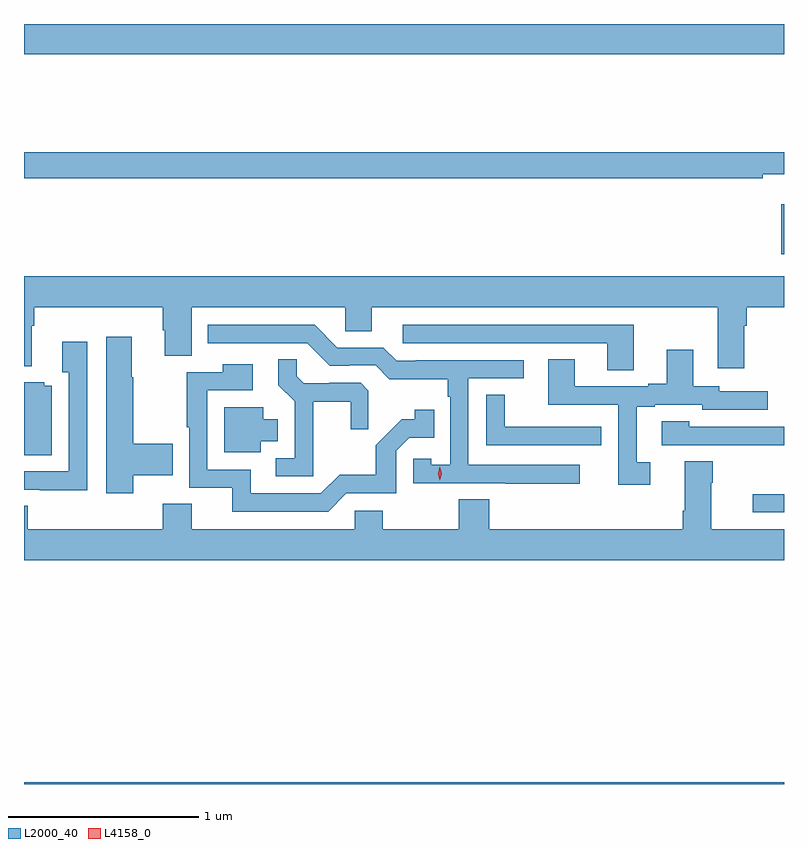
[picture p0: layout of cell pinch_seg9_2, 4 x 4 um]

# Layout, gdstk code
import gdstk
lib = gdstk.Library(unit=1e-6, precision=1e-09)
def R(c, l, rs):  # rectangles x0, y0, x1, y1
    for r in rs: c.add(gdstk.rectangle(r[:2], r[2:], *l))
def P(c, l, *ps):  # polygons
    for p in ps: c.add(gdstk.Polygon(p, *l))
L2000_40 = (2000, 40)
L4158_0 = (4158, 0)

pinch_seg9_2 = lib.new_cell('pinch_seg9_2')
R(pinch_seg9_2, L2000_40, [(1058.035,1233.871,1062.035,1233.88), (1061.871,1235.301,1062.035,1235.397), (1062.02,1236.659,1062.035,1236.922), (1058.035,1237.712,1062.035,1237.871)])
P(pinch_seg9_2, L2000_40, [(1061.924,1237.079),(1062.035,1237.079),(1062.035,1237.196),(1058.035,1237.196),(1058.035,1237.06),(1061.924,1237.06)],
  [(1058.035,1236.071),(1058.077,1236.071),(1058.077,1236.284),(1058.09,1236.284),(1058.09,1236.38),(1058.765,1236.38),(1058.765,1236.258),(1058.777,1236.258),(1058.777,1236.124),(1058.917,1236.124),(1058.917,1236.38),(1059.726,1236.38),(1059.726,1236.253),(1059.865,1236.253),(1059.865,1236.38),(1061.687,1236.38),(1061.687,1236.06),(1061.827,1236.06),(1061.827,1236.284),(1061.84,1236.284),(1061.84,1236.38),(1062.035,1236.38),(1062.035,1236.544),(1058.035,1236.544)],
  [(1061.245,1236.288),(1060.029,1236.288),(1060.029,1236.192),(1061.105,1236.192),(1061.105,1236.049),(1061.245,1236.049)],
  [(1060.96,1235.55),(1060.374,1235.55),(1060.374,1236.006),(1060.666,1236.006),(1060.666,1236.102),(1060.096,1236.102),(1060.096,1236.099),(1059.996,1236.099),(1059.927,1236.168),(1059.684,1236.168),(1059.564,1236.288),(1059.002,1236.288),(1059.002,1236.192),(1059.525,1236.192),(1059.645,1236.072),(1059.746,1236.072),(1059.746,1236.075),(1059.885,1236.075),(1059.958,1236.002),(1060.266,1236.002),(1060.266,1235.909),(1060.278,1235.909),(1060.278,1235.551),(1060.179,1235.551),(1060.179,1235.583),(1060.083,1235.583),(1060.083,1235.454),(1060.567,1235.454),(1060.567,1235.452),(1060.96,1235.452)],
  [(1058.61,1235.495),(1058.819,1235.495),(1058.819,1235.661),(1058.61,1235.661),(1058.61,1236.013),(1058.602,1236.013),(1058.602,1236.226),(1058.468,1236.226),(1058.468,1235.4),(1058.61,1235.4)],
  [(1058.367,1236.199),(1058.237,1236.199),(1058.237,1236.038),(1058.271,1236.038),(1058.271,1235.517),(1058.035,1235.517),(1058.035,1235.421),(1058.117,1235.421),(1058.117,1235.417),(1058.367,1235.417)],
  [(1061.332,1235.565),(1061.26,1235.565),(1061.26,1235.856),(1061.356,1235.856),(1061.356,1235.868),(1061.604,1235.868),(1061.604,1235.841),(1061.95,1235.841),(1061.95,1235.937),(1061.694,1235.937),(1061.694,1235.964),(1061.557,1235.964),(1061.557,1236.157),(1061.417,1236.157),(1061.417,1235.977),(1061.321,1235.977),(1061.321,1235.964),(1060.933,1235.964),(1060.933,1236.107),(1060.793,1236.107),(1060.793,1235.868),(1061.163,1235.868),(1061.163,1235.445),(1061.332,1235.445)],
  [(1059.557,1235.882),(1059.754,1235.882),(1059.754,1235.739),(1059.848,1235.739),(1059.848,1235.941),(1059.807,1235.982),(1059.642,1235.982),(1059.642,1235.979),(1059.508,1235.979),(1059.471,1236.016),(1059.471,1236.107),(1059.373,1236.107),(1059.373,1235.971),(1059.459,1235.885),(1059.459,1235.586),(1059.36,1235.586),(1059.36,1235.49),(1059.557,1235.49)],
  [(1059.732,1235.4),(1059.993,1235.4),(1059.993,1235.625),(1060.062,1235.694),(1060.193,1235.694),(1060.193,1235.842),(1060.092,1235.842),(1060.092,1235.792),(1060.022,1235.792),(1059.885,1235.654),(1059.885,1235.499),(1059.696,1235.499),(1059.597,1235.4),(1059.229,1235.4),(1059.229,1235.526),(1059,1235.526),(1059,1235.943),(1059.238,1235.943),(1059.238,1236.079),(1059.082,1236.079),(1059.082,1236.039),(1058.892,1236.039),(1058.892,1235.749),(1058.904,1235.749),(1058.904,1235.43),(1059.131,1235.43),(1059.131,1235.304),(1059.636,1235.304)],
  [(1058.182,1235.968),(1058.142,1235.968),(1058.142,1235.986),(1058.035,1235.986),(1058.035,1235.602),(1058.182,1235.602)],
  [(1061.074,1235.75),(1060.961,1235.75),(1060.961,1235.751),(1060.566,1235.751),(1060.566,1235.921),(1060.467,1235.921),(1060.467,1235.655),(1061.074,1235.655)],
  [(1059.28,1235.675),(1059.37,1235.675),(1059.37,1235.791),(1059.295,1235.791),(1059.295,1235.854),(1059.089,1235.854),(1059.089,1235.618),(1059.28,1235.618)],
  [(1062.035,1235.751),(1061.535,1235.751),(1061.535,1235.779),(1061.391,1235.779),(1061.391,1235.655),(1061.749,1235.655),(1061.749,1235.653),(1062.035,1235.653)],
  [(1062.035,1235.212),(1061.653,1235.212),(1061.653,1235.456),(1061.661,1235.456),(1061.661,1235.569),(1061.513,1235.569),(1061.513,1235.308),(1061.501,1235.308),(1061.501,1235.212),(1060.484,1235.212),(1060.484,1235.369),(1060.324,1235.369),(1060.324,1235.212),(1059.924,1235.212),(1059.924,1235.31),(1059.777,1235.31),(1059.777,1235.212),(1058.917,1235.212),(1058.917,1235.345),(1058.765,1235.345),(1058.765,1235.212),(1058.054,1235.212),(1058.054,1235.336),(1058.035,1235.336),(1058.035,1235.048),(1062.035,1235.048)])
P(pinch_seg9_2, L4158_0, [(1060.224,1235.469),(1060.224,1235.469),(1060.214,1235.505),(1060.224,1235.541),(1060.224,1235.541),(1060.224,1235.541),(1060.234,1235.505),(1060.224,1235.469)])

lib.write_gds('pinch_seg9_2.gds')
